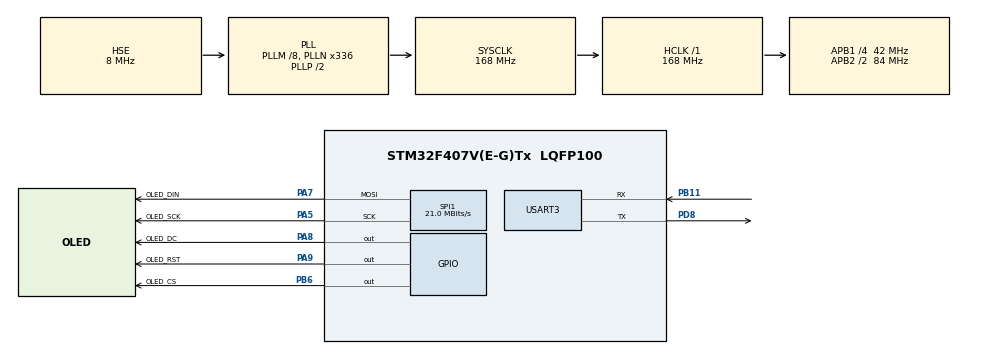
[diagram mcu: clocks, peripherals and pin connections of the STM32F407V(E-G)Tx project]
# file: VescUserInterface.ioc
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FREERTOS.INCLUDE_pcTaskGetTaskName=1
FREERTOS.INCLUDE_uxTaskGetStackHighWaterMark2=1
FREERTOS.INCLUDE_xEventGroupSetBitFromISR=1
FREERTOS.INCLUDE_xTaskGetCurrentTaskHandle=1
FREERTOS.INCLUDE_xTaskGetHandle=1
FREERTOS.Tasks01=defaultTask,24,128,StartDefaultTask,Default,NULL,Dynamic,NULL,NULL;UART_TIMER,8,128,uart_timer,As external,NULL,Dynamic,NULL,NULL;UART_PKT_PROC,8,1024,uart_packet_process,As external,NULL,Dynamic,NULL,NULL
FREERTOS.configENABLE_BACKWARD_COMPATIBILITY=0
FREERTOS.configENABLE_FPU=0
FREERTOS.configGENERATE_RUN_TIME_STATS=1
FREERTOS.configRECORD_STACK_HIGH_ADDRESS=1
FREERTOS.configUSE_NEWLIB_REENTRANT=1
FREERTOS.configUSE_POSIX_ERRNO=1
Mcu.Family=STM32F4
Mcu.Name=STM32F407V(E-G)Tx
Mcu.Package=LQFP100
NVIC.PriorityGroup=NVIC_PRIORITYGROUP_4
NVIC.TIM5_IRQn=true\:0\:0\:false\:false\:true\:false\:false\:true
NVIC.TimeBase=TIM5_IRQn
NVIC.TimeBaseIP=TIM5
NVIC.USART3_IRQn=true\:5\:0\:true\:false\:true\:false\:true\:true
PA13.Mode=Serial_Wire
PA13.Signal=SYS_JTMS-SWDIO
PA14.Mode=Serial_Wire
PA14.Signal=SYS_JTCK-SWCLK
PA5.GPIO_Label=OLED_SCK
PA5.Mode=TX_Only_Simplex_Unidirect_Master
PA5.Signal=SPI1_SCK
PA7.GPIO_Label=OLED_DIN
PA7.Mode=TX_Only_Simplex_Unidirect_Master
PA7.Signal=SPI1_MOSI
PA8.GPIO_Label=OLED_DC
PA8.GPIO_Speed=GPIO_SPEED_FREQ_VERY_HIGH
PA8.Signal=GPIO_Output
PA9.GPIO_Label=OLED_RST
PA9.GPIO_Speed=GPIO_SPEED_FREQ_VERY_HIGH
PA9.Signal=GPIO_Output
PB11.Mode=Asynchronous
PB11.Signal=USART3_RX
PB6.GPIO_Label=OLED_CS
PB6.GPIO_Speed=GPIO_SPEED_FREQ_VERY_HIGH
PB6.Signal=GPIO_Output
PD8.Mode=Asynchronous
PD8.Signal=USART3_TX
PH0-OSC_IN.Mode=HSE-External-Oscillator
PH0-OSC_IN.Signal=RCC_OSC_IN
PH1-OSC_OUT.Mode=HSE-External-Oscillator
PH1-OSC_OUT.Signal=RCC_OSC_OUT
ProjectManager.HeapSize=0x200
ProjectManager.StackSize=0x400
ProjectManager.TargetToolchain=STM32CubeIDE
RCC.48MHZClocksFreq_Value=48000000
RCC.AHBFreq_Value=168000000
RCC.APB1CLKDivider=RCC_HCLK_DIV4
RCC.APB1Freq_Value=42000000
RCC.APB1TimFreq_Value=84000000
RCC.APB2CLKDivider=RCC_HCLK_DIV2
RCC.APB2Freq_Value=84000000
RCC.APB2TimFreq_Value=168000000
RCC.CortexFreq_Value=168000000
RCC.HCLKFreq_Value=168000000
RCC.HSE_VALUE=8000000
RCC.HSI_VALUE=16000000
RCC.LSE_VALUE=32768
RCC.PLLM=8
RCC.PLLN=336
RCC.PLLQ=7
RCC.PLLSourceVirtual=RCC_PLLSOURCE_HSE
RCC.SYSCLKFreq_VALUE=168000000
RCC.SYSCLKSource=RCC_SYSCLKSOURCE_PLLCLK
RCC.VCOOutputFreq_Value=336000000
SPI1.BaudRatePrescaler=SPI_BAUDRATEPRESCALER_4
SPI1.CalculateBaudRate=21.0 MBits/s
SPI1.Direction=SPI_DIRECTION_2LINES
SPI1.Mode=SPI_MODE_MASTER
SPI1.VirtualType=VM_MASTER
USART3.VirtualMode=VM_ASYNC
VP_FREERTOS_VS_CMSIS_V2.Mode=CMSIS_V2
VP_SYS_VS_tim5.Mode=TIM5
board=STM32F407G-DISC1

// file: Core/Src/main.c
/* USER CODE BEGIN Header */
/**
  ******************************************************************************
  * @file           : main.c
  * @brief          : Main program body
  ******************************************************************************
  * @attention
  *
  * <h2><center>&copy; Copyright (c) 2020 STMicroelectronics.
  * All rights reserved.</center></h2>
  *
  * This software component is licensed by ST under Ultimate Liberty license
  * SLA0044, the "License"; You may not use this file except in compliance with
  * the License. You may obtain a copy of the License at:
  *                             www.st.com/SLA0044
  *
  ******************************************************************************
  */
/* USER CODE END Header */

#include "main.h"
#include "cmsis_os.h"
#include "spi.h"
#include "usart.h"
#include "gpio.h"

void SystemClock_Config(void);
void MX_FREERTOS_Init(void);

int main(void)
{

  /* MCU Configuration--------------------------------------------------------*/

  /* Reset of all peripherals, Initializes the Flash interface and the Systick. */
  HAL_Init();

  /* Configure the system clock */
  SystemClock_Config();

  /* Initialize all configured peripherals */
  MX_GPIO_Init();
  MX_USART3_UART_Init();
  MX_SPI1_Init();

  /* Init scheduler */
  osKernelInitialize();  /* Call init function for freertos objects (in freertos.c) */
  MX_FREERTOS_Init();
  /* Start scheduler */
  osKernelStart();

  /* We should never get here as control is now taken by the scheduler */
  /* Infinite loop */
  while (1)
  {

  }
}

void SystemClock_Config(void)
{
  RCC_OscInitTypeDef RCC_OscInitStruct = {0};
  RCC_ClkInitTypeDef RCC_ClkInitStruct = {0};

  /** Configure the main internal regulator output voltage
  */
  __HAL_RCC_PWR_CLK_ENABLE();
  __HAL_PWR_VOLTAGESCALING_CONFIG(PWR_REGULATOR_VOLTAGE_SCALE1);
  /** Initializes the CPU, AHB and APB busses clocks
  */
  RCC_OscInitStruct.OscillatorType = RCC_OSCILLATORTYPE_HSE;
  RCC_OscInitStruct.HSEState = RCC_HSE_ON;
  RCC_OscInitStruct.PLL.PLLState = RCC_PLL_ON;
  RCC_OscInitStruct.PLL.PLLSource = RCC_PLLSOURCE_HSE;
  RCC_OscInitStruct.PLL.PLLM = 8;
  RCC_OscInitStruct.PLL.PLLN = 336;
  RCC_OscInitStruct.PLL.PLLP = RCC_PLLP_DIV2;
  RCC_OscInitStruct.PLL.PLLQ = 7;
  if (HAL_RCC_OscConfig(&RCC_OscInitStruct) != HAL_OK)
  {
    Error_Handler();
  }
  /** Initializes the CPU, AHB and APB busses clocks
  */
  RCC_ClkInitStruct.ClockType = RCC_CLOCKTYPE_HCLK|RCC_CLOCKTYPE_SYSCLK
                              |RCC_CLOCKTYPE_PCLK1|RCC_CLOCKTYPE_PCLK2;
  RCC_ClkInitStruct.SYSCLKSource = RCC_SYSCLKSOURCE_PLLCLK;
  RCC_ClkInitStruct.AHBCLKDivider = RCC_SYSCLK_DIV1;
  RCC_ClkInitStruct.APB1CLKDivider = RCC_HCLK_DIV4;
  RCC_ClkInitStruct.APB2CLKDivider = RCC_HCLK_DIV2;

  if (HAL_RCC_ClockConfig(&RCC_ClkInitStruct, FLASH_LATENCY_5) != HAL_OK)
  {
    Error_Handler();
  }
}

 /**
  * @brief  Period elapsed callback in non blocking mode
  * @note   This function is called  when TIM5 interrupt took place, inside
  * HAL_TIM_IRQHandler(). It makes a direct call to HAL_IncTick() to increment
  * a global variable "uwTick" used as application time base.
  * @param  htim : TIM handle
  * @retval None
  */
void HAL_TIM_PeriodElapsedCallback(TIM_HandleTypeDef *htim)
{
  if (htim->Instance == TIM5) {
    HAL_IncTick();
  }
}

void Error_Handler(void)
{
}

/************************ (C) COPYRIGHT STMicroelectronics *****END OF FILE****/

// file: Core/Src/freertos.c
/* USER CODE BEGIN Header */
/**
  ******************************************************************************
  * File Name          : freertos.c
  * Description        : Code for freertos applications
  ******************************************************************************
  * @attention
  *
  * <h2><center>&copy; Copyright (c) 2020 STMicroelectronics.
  * All rights reserved.</center></h2>
  *
  * This software component is licensed by ST under Ultimate Liberty license
  * SLA0044, the "License"; You may not use this file except in compliance with
  * the License. You may obtain a copy of the License at:
  *                             www.st.com/SLA0044
  *
  ******************************************************************************
  */
/* USER CODE END Header */

#include "FreeRTOS.h"
#include "task.h"
#include "main.h"
#include "cmsis_os.h"

/* USER CODE BEGIN Includes */
#include <comm_uart.h>
#include <datatypes.h>
#include <bldc_interface.h>
#include <string.h>
#include <stdio.h>
#include <userInterface.h>
/* USER CODE END Includes */

/* USER CODE BEGIN Variables */
extern UART_HandleTypeDef huart3;
uint8_t _received_char = 0;
/* USER CODE END Variables */
/* Definitions for defaultTask */
osThreadId_t defaultTaskHandle;
const osThreadAttr_t defaultTask_attributes = {
  .name = "defaultTask",
  .priority = (osPriority_t) osPriorityNormal,
  .stack_size = 128 * 4
};
/* Definitions for UART_TIMER */
osThreadId_t UART_TIMERHandle;
const osThreadAttr_t UART_TIMER_attributes = {
  .name = "UART_TIMER",
  .priority = (osPriority_t) osPriorityLow,
  .stack_size = 128 * 4
};
/* Definitions for UART_PKT_PROC */
osThreadId_t UART_PKT_PROCHandle;
const osThreadAttr_t UART_PKT_PROC_attributes = {
  .name = "UART_PKT_PROC",
  .priority = (osPriority_t) osPriorityLow,
  .stack_size = 1024 * 4
};

/* USER CODE BEGIN FunctionPrototypes */
extern void rxchar(UART_HandleTypeDef *uartp, uint16_t c);
/* USER CODE END FunctionPrototypes */

void StartDefaultTask(void *argument);
extern void uart_timer(void *argument);
extern void uart_packet_process(void *argument);

void MX_FREERTOS_Init(void); /* (MISRA C 2004 rule 8.1) */

/* Hook prototypes */
void configureTimerForRunTimeStats(void);
unsigned long getRunTimeCounterValue(void);

/* USER CODE BEGIN 1 */
/* Functions needed when configGENERATE_RUN_TIME_STATS is on */
__weak void configureTimerForRunTimeStats(void)
{

}

__weak unsigned long getRunTimeCounterValue(void)
{
return 0;
}
/* USER CODE END 1 */

void MX_FREERTOS_Init(void) {

  /* Create the thread(s) */
  /* creation of defaultTask */
  defaultTaskHandle = osThreadNew(StartDefaultTask, NULL, &defaultTask_attributes);

  /* creation of UART_TIMER */
  UART_TIMERHandle = osThreadNew(uart_timer, NULL, &UART_TIMER_attributes);

  /* creation of UART_PKT_PROC */
  UART_PKT_PROCHandle = osThreadNew(uart_packet_process, NULL, &UART_PKT_PROC_attributes);

}

/* USER CODE BEGIN Header_StartDefaultTask */

void bldc_val_received(mc_values *val)
{
  printf("\r\n");
//  printf("Input voltage: %.2f V\r\n", val->v_in);
//  printf("Temp:          %.2f degC\r\n", val->temp_mos);
//  printf("Current motor: %.2f A\r\n", val->current_motor);
//  printf("Current in:    %.2f A\r\n", val->current_in);
//  printf("RPM:           %.1f RPM\r\n", val->rpm);
//  printf("Duty cycle:    %.1f %%\r\n", val->duty_now * 100.0);
//  printf("Ah Drawn:      %.4f Ah\r\n", val->amp_hours);
//  printf("Ah Regen:      %.4f Ah\r\n", val->amp_hours_charged);
//  printf("Wh Drawn:      %.4f Wh\r\n", val->watt_hours);
//  printf("Wh Regen:      %.4f Wh\r\n", val->watt_hours_charged);
  printf("Tacho:         %i counts\r\n", val->tachometer);
  printf("Tacho ABS:     %i counts\r\n", val->tachometer_abs);
  printf("Fault Code:    %s\r\n", bldc_interface_fault_to_string(val->fault_code));
}

/**
  * @brief  Function implementing the defaultTask thread.
  * @param  argument: Not used
  * @retval None
  */
/* USER CODE END Header_StartDefaultTask */
void StartDefaultTask(void *argument)
{
  /* USER CODE BEGIN StartDefaultTask */
  /* Infinite loop */
  comm_uart_init();

  // Give bldc_interface a function to call when values are received.
  bldc_interface_set_rx_value_func(ui_print_esc_values);

  HAL_UART_Receive_IT(&huart3, &_received_char, 1);

  ui_initialize();

  for(;;)
  {
    bldc_interface_get_values();

    osDelay(1000);
  }
  /* USER CODE END StartDefaultTask */
}

/* USER CODE BEGIN Application */
void HAL_UART_RxCpltCallback(UART_HandleTypeDef *huart)
{
  rxchar(&huart3, _received_char);
  HAL_UART_Receive_IT(&huart3, &_received_char, 1);
}
/* USER CODE END Application */

/************************ (C) COPYRIGHT STMicroelectronics *****END OF FILE****/
